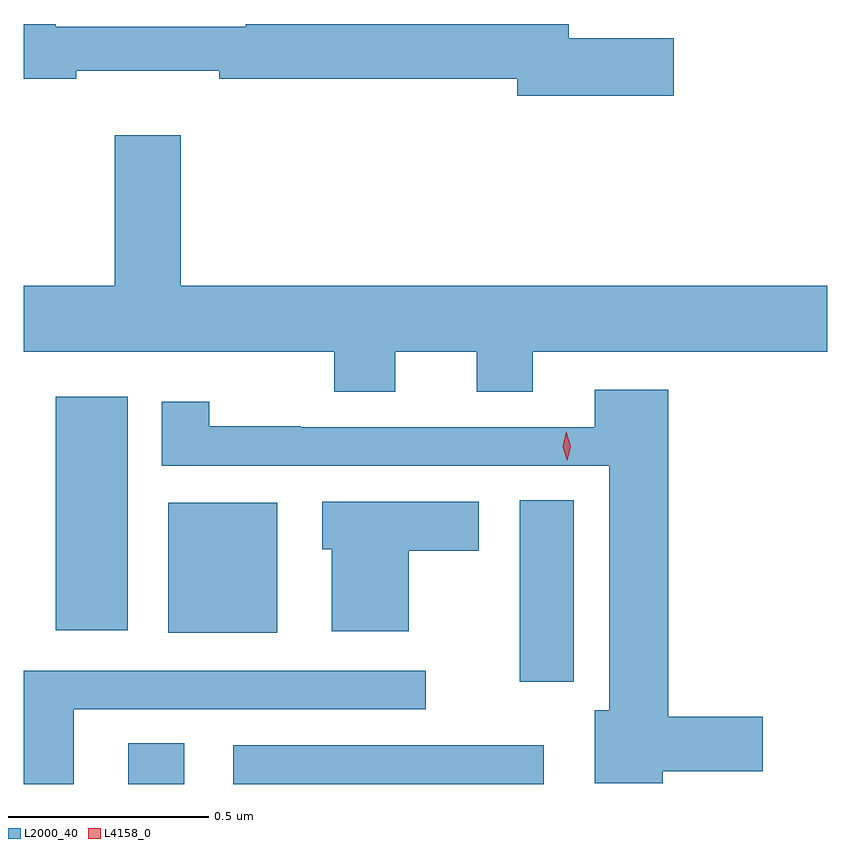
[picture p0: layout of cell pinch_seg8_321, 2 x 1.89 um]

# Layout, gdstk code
import gdstk
lib = gdstk.Library(unit=1e-6, precision=1e-09)
def R(c, l, rs):  # rectangles x0, y0, x1, y1
    for r in rs: c.add(gdstk.rectangle(r[:2], r[2:], *l))
def P(c, l, *ps):  # polygons
    for p in ps: c.add(gdstk.Polygon(p, *l))
L2000_40 = (2000, 40)
L4158_0 = (4158, 0)

pinch_seg8_321 = lib.new_cell('pinch_seg8_321')
R(pinch_seg8_321, L2000_40, [(596.609,1128.744,596.749,1128.845), (596.871,1128.744,597.643,1128.84), (597.584,1128.999,597.718,1129.451), (596.708,1129.121,596.98,1129.444), (596.429,1129.127,596.608,1129.708)])
P(pinch_seg8_321, L2000_40, [(597.967,1130.6),(597.706,1130.6),(597.706,1130.636),(596.902,1130.636),(596.902,1130.629),(596.429,1130.629),(596.429,1130.636),(596.349,1130.636),(596.349,1130.5),(596.48,1130.5),(596.48,1130.519),(596.836,1130.519),(596.836,1130.5),(597.578,1130.5),(597.578,1130.458),(597.967,1130.458)],
  [(597.274,1129.82),(597.476,1129.82),(597.476,1129.721),(597.616,1129.721),(597.616,1129.82),(598.349,1129.82),(598.349,1129.984),(596.74,1129.984),(596.74,1130.359),(596.576,1130.359),(596.576,1129.984),(596.349,1129.984),(596.349,1129.82),(597.122,1129.82),(597.122,1129.721),(597.274,1129.721)],
  [(597.94,1128.776),(598.189,1128.776),(598.189,1128.911),(597.953,1128.911),(597.953,1129.726),(597.77,1129.726),(597.77,1129.632),(597.038,1129.632),(597.038,1129.634),(596.811,1129.634),(596.811,1129.696),(596.693,1129.696),(596.693,1129.536),(597.806,1129.536),(597.806,1128.928),(597.77,1128.928),(597.77,1128.746),(597.94,1128.746)],
  [(597.307,1129.325),(597.481,1129.325),(597.481,1129.447),(597.092,1129.447),(597.092,1129.329),(597.116,1129.329),(597.116,1129.124),(597.307,1129.124)],
  [(596.473,1128.93),(597.349,1128.93),(597.349,1129.026),(596.349,1129.026),(596.349,1128.744),(596.473,1128.744)])
P(pinch_seg8_321, L4158_0, [(597.702,1129.549),(597.702,1129.549),(597.691,1129.584),(597.699,1129.621),(597.699,1129.621),(597.7,1129.621),(597.711,1129.585),(597.702,1129.549)])

lib.write_gds('pinch_seg8_321.gds')
